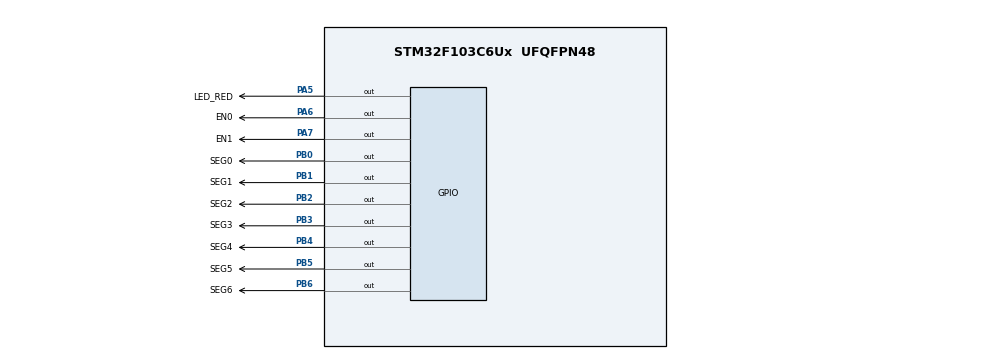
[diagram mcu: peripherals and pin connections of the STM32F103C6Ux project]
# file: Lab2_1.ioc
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Mcu.Family=STM32F1
Mcu.Name=STM32F103C6Ux
Mcu.Package=UFQFPN48
NVIC.PriorityGroup=NVIC_PRIORITYGROUP_4
NVIC.TIM2_IRQn=true\:0\:0\:false\:false\:true\:true\:true
PA5.GPIO_Label=LED_RED
PA5.Signal=GPIO_Output
PA6.GPIO_Label=EN0
PA6.Signal=GPIO_Output
PA7.GPIO_Label=EN1
PA7.Signal=GPIO_Output
PB0.GPIO_Label=SEG0
PB0.Signal=GPIO_Output
PB1.GPIO_Label=SEG1
PB1.Signal=GPIO_Output
PB2.GPIO_Label=SEG2
PB2.Signal=GPIO_Output
PB3.GPIO_Label=SEG3
PB3.Signal=GPIO_Output
PB4.GPIO_Label=SEG4
PB4.Signal=GPIO_Output
PB5.GPIO_Label=SEG5
PB5.Signal=GPIO_Output
PB6.GPIO_Label=SEG6
PB6.Signal=GPIO_Output
ProjectManager.HeapSize=0x200
ProjectManager.StackSize=0x400
ProjectManager.TargetToolchain=STM32CubeIDE
RCC.APB1Freq_Value=8000000
RCC.APB2Freq_Value=8000000
TIM2.Period=9
TIM2.Prescaler=7999
VP_SYS_VS_ND.Mode=No_Debug
VP_TIM2_VS_ClockSourceINT.Mode=Internal
board=custom

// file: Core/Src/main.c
/* USER CODE BEGIN Header */
/**
  ******************************************************************************
  * @file           : main.c
  * @brief          : Main program body
  ******************************************************************************
  * @attention
  *
  * <h2><center>&copy; Copyright (c) 2024 STMicroelectronics.
  * All rights reserved.</center></h2>
  *
  * This software component is licensed by ST under BSD 3-Clause license,
  * the "License"; You may not use this file except in compliance with the
  * License. You may obtain a copy of the License at:
  *                        opensource.org/licenses/BSD-3-Clause
  *
  ******************************************************************************
  */
/* USER CODE END Header */
#include "main.h"

/* USER CODE BEGIN Includes */
#include "software_timer.h"
/* USER CODE END Includes */

TIM_HandleTypeDef htim2;

void SystemClock_Config(void);
static void MX_GPIO_Init(void);
static void MX_TIM2_Init(void);

/* USER CODE BEGIN 0 */
void display7SEG(int num)
{
	if(num == 0)
	{
		HAL_GPIO_WritePin(SEG0_GPIO_Port, SEG0_Pin, RESET);
		HAL_GPIO_WritePin(SEG1_GPIO_Port, SEG1_Pin, RESET);
		HAL_GPIO_WritePin(SEG2_GPIO_Port, SEG2_Pin, RESET);
		HAL_GPIO_WritePin(SEG3_GPIO_Port, SEG3_Pin, RESET);
		HAL_GPIO_WritePin(SEG4_GPIO_Port, SEG4_Pin, RESET);
		HAL_GPIO_WritePin(SEG5_GPIO_Port, SEG5_Pin, RESET);
		HAL_GPIO_WritePin(SEG6_GPIO_Port, SEG6_Pin, SET);
	}
	else if(num == 1)
	{
		HAL_GPIO_WritePin(SEG0_GPIO_Port, SEG0_Pin, SET);
		HAL_GPIO_WritePin(SEG1_GPIO_Port, SEG1_Pin, RESET);
		HAL_GPIO_WritePin(SEG2_GPIO_Port, SEG2_Pin, RESET);
		HAL_GPIO_WritePin(SEG3_GPIO_Port, SEG3_Pin, SET);
		HAL_GPIO_WritePin(SEG4_GPIO_Port, SEG4_Pin, SET);
		HAL_GPIO_WritePin(SEG5_GPIO_Port, SEG5_Pin, SET);
		HAL_GPIO_WritePin(SEG6_GPIO_Port, SEG6_Pin, SET);
	}
	else if(num == 2)
	{
		HAL_GPIO_WritePin(SEG0_GPIO_Port, SEG0_Pin, RESET);
		HAL_GPIO_WritePin(SEG1_GPIO_Port, SEG1_Pin, RESET);
		HAL_GPIO_WritePin(SEG2_GPIO_Port, SEG2_Pin, SET);
		HAL_GPIO_WritePin(SEG3_GPIO_Port, SEG3_Pin, RESET);
		HAL_GPIO_WritePin(SEG4_GPIO_Port, SEG4_Pin, RESET);
		HAL_GPIO_WritePin(SEG5_GPIO_Port, SEG5_Pin, SET);
		HAL_GPIO_WritePin(SEG6_GPIO_Port, SEG6_Pin, RESET);
	}
	else if(num == 3)
	{
		HAL_GPIO_WritePin(SEG0_GPIO_Port, SEG0_Pin, RESET);
		HAL_GPIO_WritePin(SEG1_GPIO_Port, SEG1_Pin, RESET);
		HAL_GPIO_WritePin(SEG2_GPIO_Port, SEG2_Pin, RESET);
		HAL_GPIO_WritePin(SEG3_GPIO_Port, SEG3_Pin, RESET);
		HAL_GPIO_WritePin(SEG4_GPIO_Port, SEG4_Pin, SET);
		HAL_GPIO_WritePin(SEG5_GPIO_Port, SEG5_Pin, SET);
		HAL_GPIO_WritePin(SEG6_GPIO_Port, SEG6_Pin, RESET);
	}
	else if(num == 4)
	{
		HAL_GPIO_WritePin(SEG0_GPIO_Port, SEG0_Pin, SET);
		HAL_GPIO_WritePin(SEG1_GPIO_Port, SEG1_Pin, RESET);
		HAL_GPIO_WritePin(SEG2_GPIO_Port, SEG2_Pin, RESET);
		HAL_GPIO_WritePin(SEG3_GPIO_Port, SEG3_Pin, SET);
		HAL_GPIO_WritePin(SEG4_GPIO_Port, SEG4_Pin, SET);
		HAL_GPIO_WritePin(SEG5_GPIO_Port, SEG5_Pin, RESET);
		HAL_GPIO_WritePin(SEG6_GPIO_Port, SEG6_Pin, RESET);
	}
	else if(num == 5)
	{
		HAL_GPIO_WritePin(SEG0_GPIO_Port, SEG0_Pin, RESET);
		HAL_GPIO_WritePin(SEG1_GPIO_Port, SEG1_Pin, SET);
		HAL_GPIO_WritePin(SEG2_GPIO_Port, SEG2_Pin, RESET);
		HAL_GPIO_WritePin(SEG3_GPIO_Port, SEG3_Pin, RESET);
		HAL_GPIO_WritePin(SEG4_GPIO_Port, SEG4_Pin, SET);
		HAL_GPIO_WritePin(SEG5_GPIO_Port, SEG5_Pin, RESET);
		HAL_GPIO_WritePin(SEG6_GPIO_Port, SEG6_Pin, RESET);
	}
	else if(num == 6)
	{
		HAL_GPIO_WritePin(SEG0_GPIO_Port, SEG0_Pin, RESET);
		HAL_GPIO_WritePin(SEG1_GPIO_Port, SEG1_Pin, SET);
		HAL_GPIO_WritePin(SEG2_GPIO_Port, SEG2_Pin, RESET);
		HAL_GPIO_WritePin(SEG3_GPIO_Port, SEG3_Pin, RESET);
		HAL_GPIO_WritePin(SEG4_GPIO_Port, SEG4_Pin, RESET);
		HAL_GPIO_WritePin(SEG5_GPIO_Port, SEG5_Pin, RESET);
		HAL_GPIO_WritePin(SEG6_GPIO_Port, SEG6_Pin, RESET);
	}
	else if(num == 7)
	{
		HAL_GPIO_WritePin(SEG0_GPIO_Port, SEG0_Pin, RESET);
		HAL_GPIO_WritePin(SEG1_GPIO_Port, SEG1_Pin, RESET);
		HAL_GPIO_WritePin(SEG2_GPIO_Port, SEG2_Pin, RESET);
		HAL_GPIO_WritePin(SEG3_GPIO_Port, SEG3_Pin, SET);
		HAL_GPIO_WritePin(SEG4_GPIO_Port, SEG4_Pin, SET);
		HAL_GPIO_WritePin(SEG5_GPIO_Port, SEG5_Pin, SET);
		HAL_GPIO_WritePin(SEG6_GPIO_Port, SEG6_Pin, SET);
	}
	else if(num == 8)
	{
		HAL_GPIO_WritePin(SEG0_GPIO_Port, SEG0_Pin, RESET);
		HAL_GPIO_WritePin(SEG1_GPIO_Port, SEG1_Pin, RESET);
		HAL_GPIO_WritePin(SEG2_GPIO_Port, SEG2_Pin, RESET);
		HAL_GPIO_WritePin(SEG3_GPIO_Port, SEG3_Pin, RESET);
		HAL_GPIO_WritePin(SEG4_GPIO_Port, SEG4_Pin, RESET);
		HAL_GPIO_WritePin(SEG5_GPIO_Port, SEG5_Pin, RESET);
		HAL_GPIO_WritePin(SEG6_GPIO_Port, SEG6_Pin, RESET);
	}
	else if(num == 9)
	{
		HAL_GPIO_WritePin(SEG0_GPIO_Port, SEG0_Pin, RESET);
		HAL_GPIO_WritePin(SEG1_GPIO_Port, SEG1_Pin, RESET);
		HAL_GPIO_WritePin(SEG2_GPIO_Port, SEG2_Pin, RESET);
		HAL_GPIO_WritePin(SEG3_GPIO_Port, SEG3_Pin, RESET);
		HAL_GPIO_WritePin(SEG4_GPIO_Port, SEG4_Pin, SET);
		HAL_GPIO_WritePin(SEG5_GPIO_Port, SEG5_Pin, RESET);
		HAL_GPIO_WritePin(SEG6_GPIO_Port, SEG6_Pin, RESET);
	}
}
/* USER CODE END 0 */

int main(void)
{

  /* MCU Configuration--------------------------------------------------------*/

  /* Reset of all peripherals, Initializes the Flash interface and the Systick. */
  HAL_Init();

  /* Configure the system clock */
  SystemClock_Config();

  /* Initialize all configured peripherals */
  MX_GPIO_Init();
  MX_TIM2_Init();
  /* USER CODE BEGIN 2 */
  HAL_TIM_Base_Start_IT(&htim2);
  /* USER CODE END 2 */

  /* Infinite loop */
  /* USER CODE BEGIN WHILE */
  HAL_GPIO_WritePin(LED_RED_GPIO_Port, LED_RED_Pin, SET);
  setTimer1(50);
  int EN_state = 0;

  while (1)
  {
	  if(timer1_flag == 1)
	  {
		  HAL_GPIO_TogglePin(LED_RED_GPIO_Port, LED_RED_Pin);

		  switch(EN_state)
		  {
		  case 0:
			  HAL_GPIO_WritePin(EN0_GPIO_Port, EN0_Pin, RESET);
			  HAL_GPIO_WritePin(EN1_GPIO_Port, EN1_Pin, SET);
			  display7SEG(1);
			  EN_state = 1;
			  break;
		  case 1:
			  HAL_GPIO_WritePin(EN0_GPIO_Port, EN0_Pin, SET);
			  HAL_GPIO_WritePin(EN1_GPIO_Port, EN1_Pin, RESET);
			  display7SEG(2);
			  EN_state = 0;
			  break;
		  }
		  setTimer1(50);
	  }
    /* USER CODE END WHILE */

  }
}

void SystemClock_Config(void)
{
  RCC_OscInitTypeDef RCC_OscInitStruct = {0};
  RCC_ClkInitTypeDef RCC_ClkInitStruct = {0};

  /** Initializes the RCC Oscillators according to the specified parameters
  * in the RCC_OscInitTypeDef structure.
  */
  RCC_OscInitStruct.OscillatorType = RCC_OSCILLATORTYPE_HSI;
  RCC_OscInitStruct.HSIState = RCC_HSI_ON;
  RCC_OscInitStruct.HSICalibrationValue = RCC_HSICALIBRATION_DEFAULT;
  RCC_OscInitStruct.PLL.PLLState = RCC_PLL_NONE;
  if (HAL_RCC_OscConfig(&RCC_OscInitStruct) != HAL_OK)
  {
    Error_Handler();
  }
  /** Initializes the CPU, AHB and APB buses clocks
  */
  RCC_ClkInitStruct.ClockType = RCC_CLOCKTYPE_HCLK|RCC_CLOCKTYPE_SYSCLK
                              |RCC_CLOCKTYPE_PCLK1|RCC_CLOCKTYPE_PCLK2;
  RCC_ClkInitStruct.SYSCLKSource = RCC_SYSCLKSOURCE_HSI;
  RCC_ClkInitStruct.AHBCLKDivider = RCC_SYSCLK_DIV1;
  RCC_ClkInitStruct.APB1CLKDivider = RCC_HCLK_DIV1;
  RCC_ClkInitStruct.APB2CLKDivider = RCC_HCLK_DIV1;

  if (HAL_RCC_ClockConfig(&RCC_ClkInitStruct, FLASH_LATENCY_0) != HAL_OK)
  {
    Error_Handler();
  }
}

static void MX_TIM2_Init(void)
{

  TIM_ClockConfigTypeDef sClockSourceConfig = {0};
  TIM_MasterConfigTypeDef sMasterConfig = {0};

  htim2.Instance = TIM2;
  htim2.Init.Prescaler = 7999;
  htim2.Init.CounterMode = TIM_COUNTERMODE_UP;
  htim2.Init.Period = 9;
  htim2.Init.ClockDivision = TIM_CLOCKDIVISION_DIV1;
  htim2.Init.AutoReloadPreload = TIM_AUTORELOAD_PRELOAD_DISABLE;
  if (HAL_TIM_Base_Init(&htim2) != HAL_OK)
  {
    Error_Handler();
  }
  sClockSourceConfig.ClockSource = TIM_CLOCKSOURCE_INTERNAL;
  if (HAL_TIM_ConfigClockSource(&htim2, &sClockSourceConfig) != HAL_OK)
  {
    Error_Handler();
  }
  sMasterConfig.MasterOutputTrigger = TIM_TRGO_RESET;
  sMasterConfig.MasterSlaveMode = TIM_MASTERSLAVEMODE_DISABLE;
  if (HAL_TIMEx_MasterConfigSynchronization(&htim2, &sMasterConfig) != HAL_OK)
  {
    Error_Handler();
  }

}

static void MX_GPIO_Init(void)
{
  GPIO_InitTypeDef GPIO_InitStruct = {0};

  /* GPIO Ports Clock Enable */
  __HAL_RCC_GPIOA_CLK_ENABLE();
  __HAL_RCC_GPIOB_CLK_ENABLE();

  /*Configure GPIO pin Output Level */
  HAL_GPIO_WritePin(GPIOA, LED_RED_Pin|EN0_Pin|EN1_Pin, GPIO_PIN_RESET);

  /*Configure GPIO pin Output Level */
  HAL_GPIO_WritePin(GPIOB, SEG0_Pin|SEG1_Pin|SEG2_Pin|SEG3_Pin
                          |SEG4_Pin|SEG5_Pin|SEG6_Pin, GPIO_PIN_RESET);

  /*Configure GPIO pins : LED_RED_Pin EN0_Pin EN1_Pin */
  GPIO_InitStruct.Pin = LED_RED_Pin|EN0_Pin|EN1_Pin;
  GPIO_InitStruct.Mode = GPIO_MODE_OUTPUT_PP;
  GPIO_InitStruct.Pull = GPIO_NOPULL;
  GPIO_InitStruct.Speed = GPIO_SPEED_FREQ_LOW;
  HAL_GPIO_Init(GPIOA, &GPIO_InitStruct);

  /*Configure GPIO pins : SEG0_Pin SEG1_Pin SEG2_Pin SEG3_Pin
                           SEG4_Pin SEG5_Pin SEG6_Pin */
  GPIO_InitStruct.Pin = SEG0_Pin|SEG1_Pin|SEG2_Pin|SEG3_Pin
                          |SEG4_Pin|SEG5_Pin|SEG6_Pin;
  GPIO_InitStruct.Mode = GPIO_MODE_OUTPUT_PP;
  GPIO_InitStruct.Pull = GPIO_NOPULL;
  GPIO_InitStruct.Speed = GPIO_SPEED_FREQ_LOW;
  HAL_GPIO_Init(GPIOB, &GPIO_InitStruct);

}

/* USER CODE BEGIN 4 */
void HAL_TIM_PeriodElapsedCallback(TIM_HandleTypeDef *htim)
{
	timerRun();
}
/* USER CODE END 4 */

void Error_Handler(void)
{
  __disable_irq();
  while (1)
  {
  }
}

/************************ (C) COPYRIGHT STMicroelectronics *****END OF FILE****/
